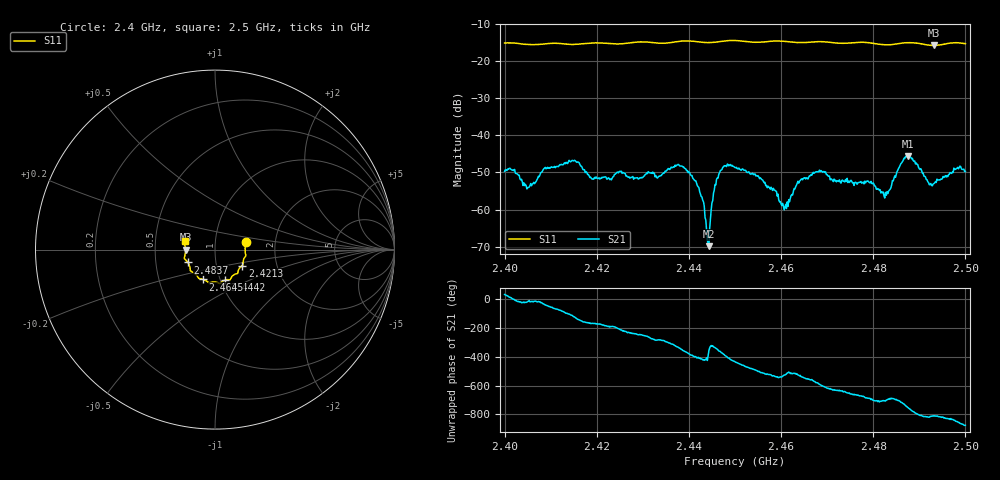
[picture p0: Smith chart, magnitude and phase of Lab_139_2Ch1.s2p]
# Hz S RI R
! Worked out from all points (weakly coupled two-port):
!   601 points, 2.4 GHz to 2.5 GHz, reference 50 ohm
!   highest |S21| = -45.62 dB at 2.4875 GHz (marker M1); lowest = -69.9 dB at 2.4443 GHz (marker M2)
!   lowest |S11| = -15.7 dB at 2.4932 GHz (marker M3), VSWR 1.39, Z = 35.9 - j0.0569 ohm
!   |S11| at or under -10 dB: start of sweep to end of sweep
!   S12 and S22 are empty: the file has one direction only
!   S11 on the Smith chart (normalised r, x): 2.4 GHz: 1.41, +0.12; 2.4213 GHz: 1.33, -0.25; 2.4442 GHz: 1.05, -0.37; 2.4645 GHz: 0.83, -0.29; 2.4837 GHz: 0.73, -0.11; 2.5 GHz: 0.71, +0.07
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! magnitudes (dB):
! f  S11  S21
! 2.4 GHz  -15.1  -49.7
! 2.405 GHz  -15.5  -54.1
! 2.4088 GHz  -15.3  -48.6
! 2.4167 GHz  -15.3  -48.3
! 2.4213 GHz  -15.1  -51.4
! 2.4333 GHz  -15.1  -51.2
! 2.4375 GHz  -14.7  -48.0
! 2.4402 GHz  -14.5  -50.0
! 2.4427 GHz  -14.8  -56.5
! 2.4442 GHz  -15.0  -69.1
! 2.4443 GHz  -14.9  -69.9
! 2.4453 GHz  -14.9  -55.6
! 2.4465 GHz  -14.7  -50.4
! 2.45 GHz  -14.4  -48.7
! 2.4607 GHz  -14.6  -60.1
! 2.4645 GHz  -15.0  -51.7
! 2.4667 GHz  -14.8  -50.8
! 2.4833 GHz  -15.6  -55.0
! 2.4837 GHz  -15.5  -54.5
! 2.4875 GHz  -15.0  -45.6
! 2.4932 GHz  -15.7  -53.0
! 2.5 GHz  -15.3  -49.7
